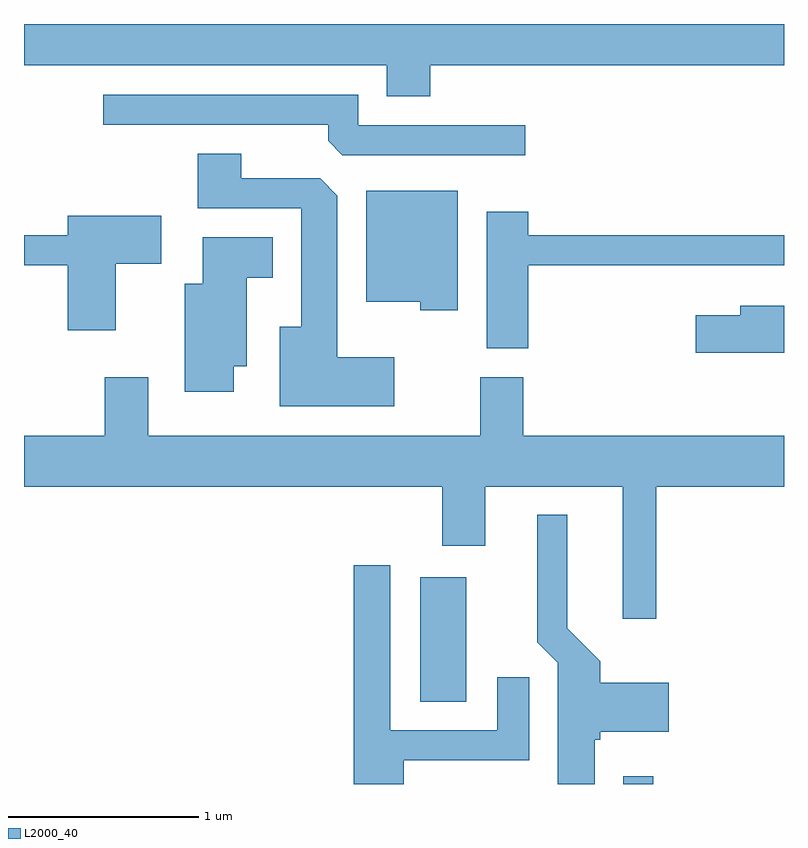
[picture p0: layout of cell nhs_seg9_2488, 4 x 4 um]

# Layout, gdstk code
import gdstk
lib = gdstk.Library(unit=1e-6, precision=1e-09)
def R(c, l, rs):  # rectangles x0, y0, x1, y1
    for r in rs: c.add(gdstk.rectangle(r[:2], r[2:], *l))
def P(c, l, *ps):  # polygons
    for p in ps: c.add(gdstk.Polygon(p, *l))
L2000_40 = (2000, 40)

nhs_seg9_2488 = lib.new_cell('nhs_seg9_2488')
R(nhs_seg9_2488, L2000_40, [(260.766,2032.432,260.924,2032.473), (259.696,2032.866,259.939,2033.519)])
P(nhs_seg9_2488, L2000_40, [(259.749,2036.216),(261.611,2036.216),(261.611,2036.432),(257.611,2036.432),(257.611,2036.216),(259.521,2036.216),(259.521,2036.051),(259.749,2036.051)],
  [(260.248,2035.899),(259.369,2035.899),(259.369,2036.059),(258.028,2036.059),(258.028,2035.901),(259.211,2035.901),(259.211,2035.817),(259.287,2035.741),(260.248,2035.741)],
  [(259.559,2034.679),(259.259,2034.679),(259.259,2035.529),(259.169,2035.619),(258.754,2035.619),(258.754,2035.749),(258.526,2035.749),(258.526,2035.461),(259.071,2035.461),(259.071,2034.839),(258.956,2034.839),(258.956,2034.421),(259.559,2034.421)],
  [(259.894,2035.554),(259.411,2035.554),(259.411,2034.971),(259.696,2034.971),(259.696,2034.926),(259.894,2034.926)],
  [(260.264,2035.161),(261.611,2035.161),(261.611,2035.319),(260.264,2035.319),(260.264,2035.444),(260.046,2035.444),(260.046,2034.726),(260.264,2034.726)],
  [(258.094,2035.171),(258.334,2035.171),(258.334,2035.424),(257.841,2035.424),(257.841,2035.319),(257.611,2035.319),(257.611,2035.161),(257.841,2035.161),(257.841,2034.821),(258.094,2034.821)],
  [(258.714,2034.631),(258.784,2034.631),(258.784,2035.096),(258.919,2035.096),(258.919,2035.309),(258.551,2035.309),(258.551,2035.064),(258.456,2035.064),(258.456,2034.496),(258.714,2034.496)],
  [(261.611,2034.949),(261.381,2034.949),(261.381,2034.899),(261.146,2034.899),(261.146,2034.701),(261.611,2034.701)],
  [(260.939,2033.996),(261.611,2033.996),(261.611,2034.264),(260.239,2034.264),(260.239,2034.574),(260.011,2034.574),(260.011,2034.264),(258.264,2034.264),(258.264,2034.574),(258.036,2034.574),(258.036,2034.264),(257.611,2034.264),(257.611,2033.996),(259.811,2033.996),(259.811,2033.686),(260.039,2033.686),(260.039,2033.996),(260.761,2033.996),(260.761,2033.301),(260.939,2033.301)],
  [(260.614,2032.666),(260.644,2032.666),(260.644,2032.706),(261.004,2032.706),(261.004,2032.964),(260.644,2032.964),(260.644,2033.077),(260.469,2033.252),(260.469,2033.848),(260.311,2033.848),(260.311,2033.179),(260.421,2033.069),(260.421,2032.432),(260.614,2032.432)],
  [(259.609,2032.556),(260.269,2032.556),(260.269,2032.993),(260.101,2032.993),(260.101,2032.714),(259.539,2032.714),(259.539,2033.584),(259.346,2033.584),(259.346,2032.432),(259.609,2032.432)])

lib.write_gds('nhs_seg9_2488.gds')
